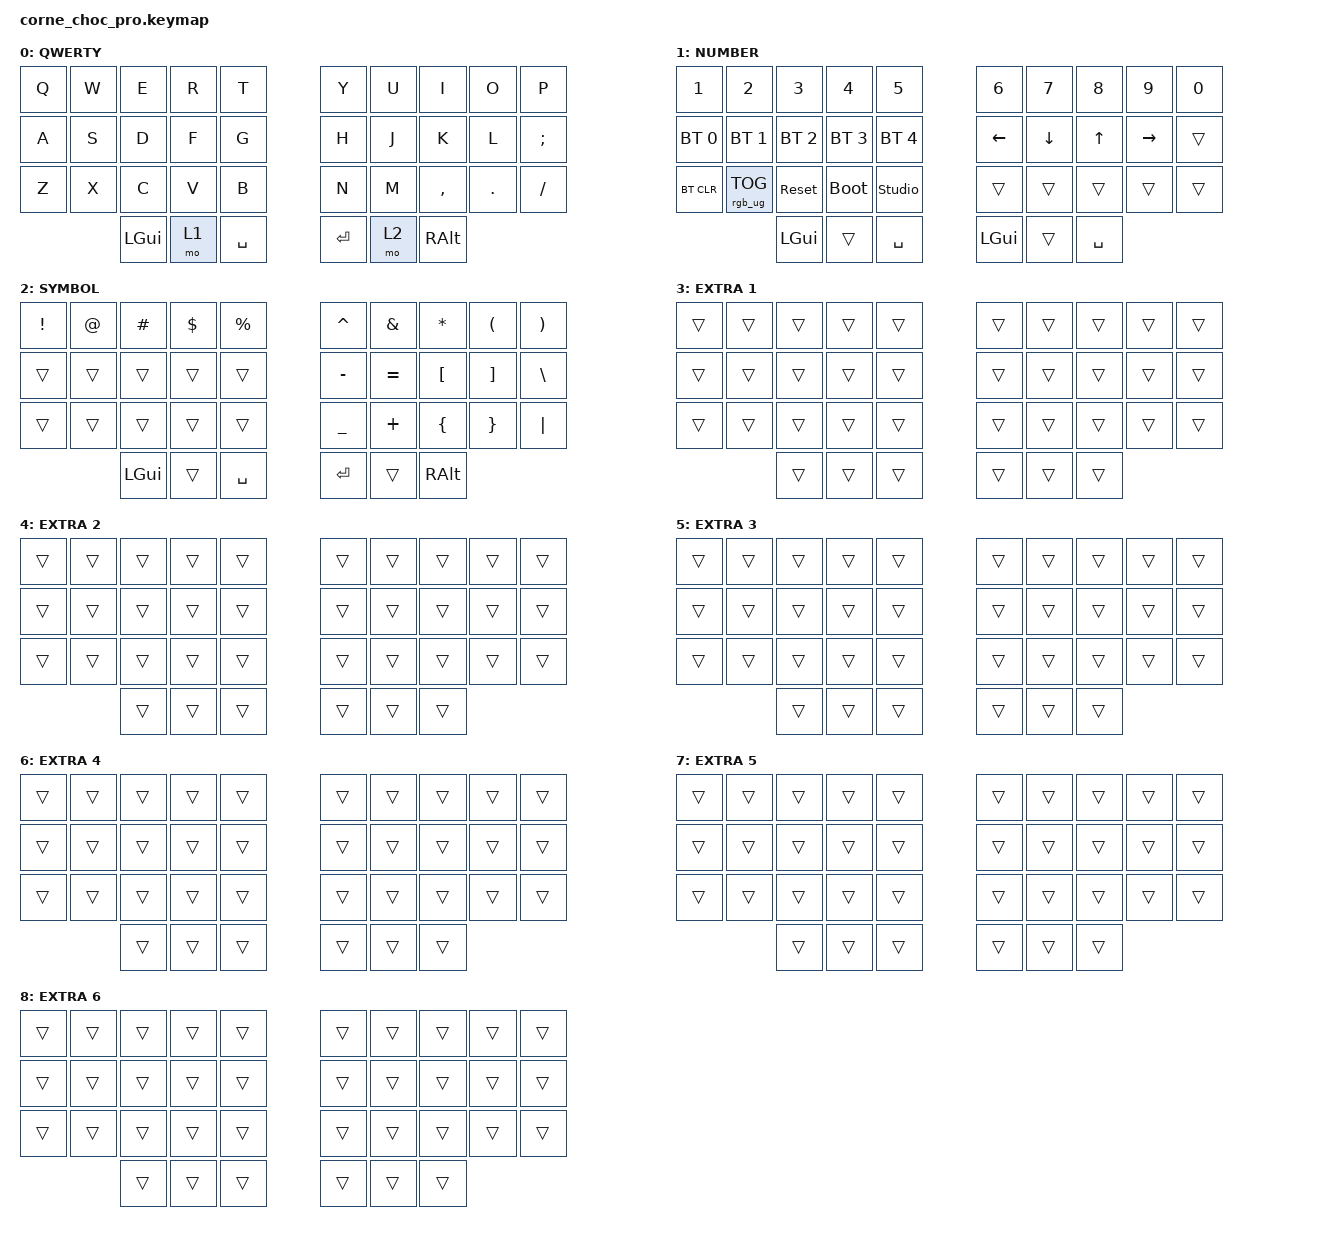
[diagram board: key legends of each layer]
/*
 * Copyright (c) 2020 The ZMK Contributors
 *
 * SPDX-License-Identifier: MIT
 */

#include <behaviors.dtsi>
#include <dt-bindings/zmk/keys.h>
#include <dt-bindings/zmk/bt.h>
#include <dt-bindings/zmk/rgb.h>

/ {
    chosen {
        zmk,physical-layout = &default_layout;
    };
};

/ {
    keymap {
        compatible = "zmk,keymap";

        default_layer {
            display-name = "QWERTY";
            // ------------------------------------------------------------------------------
            // |  Q  |  W  |  E  |  R  |  T  |               |  Y  |  U   |  I  |  O  |  P  |
            // |  A  |  S  |  D  |  F  |  G  |               |  H  |  J   |  K  |  L  |  ;  |
            // |  Z  |  X  |  C  |  V  |  B  |               |  N  |  M   |  ,  |  .  |  /  |
            //             | GUI | LWR | SPC |               | ENT | RSE  | ALT |
            bindings = <
                &kp Q &kp W &kp E &kp R &kp T                     &kp Y &kp U  &kp I     &kp O   &kp P   
                &kp A &kp S &kp D &kp F &kp G                     &kp H &kp J  &kp K     &kp L   &kp SEMI
                &kp Z &kp X &kp C &kp V &kp B                     &kp N &kp M  &kp COMMA &kp DOT &kp FSLH
                            &kp LGUI &mo 1 &kp SPACE              &kp RET &mo 2 &kp RALT
            >;
        };

        lower_layer {
            display-name = "NUMBER";
            // --------------------------------------------------------------------------------
            // |  1  |  2  |  3  |  4  |  5    |                |  6  |  7  |  8  |  9  |  0  |
            // | BT1 | BT2 | BT3 | BT4 | BT5   |                | LFT | DWN |  UP | RGT |     |
            // | BTCR| RGB | RST | BOOT| Unlock|                |     |     |     |     |     |
            //             | GUI |     | SPC   |                | ENT |     | ALT |
            bindings = <
                &kp N1       &kp N2          &kp N3       &kp N4       &kp N5                           &kp N6   &kp N7   &kp N8 &kp N9    &kp N0
                &bt BT_SEL 0 &bt BT_SEL 1    &bt BT_SEL 2 &bt BT_SEL 3 &bt BT_SEL 4                     &kp LEFT &kp DOWN &kp UP &kp RIGHT &trans
                &bt BT_CLR   &rgb_ug RGB_TOG &sys_reset   &bootloader  &studio_unlock                   &trans   &trans   &trans &trans    &trans
                                             &kp LGUI     &trans       &kp SPACE                        &kp LGUI &trans   &kp SPACE
            >;
        };

        raise_layer {
            display-name = "SYMBOL";
            // -----------------------------------------------------------------------------
            // |  !  |  @  |  #  |  $  |  %  |               |  ^  |  &  |  *  |  (  |  )  |
            // |     |     |     |     |     |               |  -  |  =  |  [  |  ]  |  \  |
            // |     |     |     |     |     |               |  _  |  +  |  {  |  }  | "|" |
            //             | GUI |     | SPC |               | ENT |     | ALT |
            bindings = <
                &kp EXCL &kp AT &kp HASH &kp DLLR &kp PRCNT                     &kp CARET &kp AMPS &kp ASTRK &kp LPAR &kp RPAR
                &trans   &trans &trans   &trans   &trans                        &kp MINUS &kp EQUAL &kp LBKT &kp RBKT &kp BSLH
                &trans   &trans &trans   &trans   &trans                        &kp UNDER &kp PLUS  &kp LBRC &kp RBRC &kp PIPE
                                &kp LGUI &trans   &kp SPACE                     &kp RET   &trans    &kp RALT
            >;
        };

        extra_layer_1 {
            display-name = "EXTRA 1";
            bindings = <
                &trans &trans &trans &trans &trans               &trans &trans &trans &trans &trans
                &trans &trans &trans &trans &trans               &trans &trans &trans &trans &trans
                &trans &trans &trans &trans &trans               &trans &trans &trans &trans &trans
                              &trans &trans &trans               &trans &trans &trans       
            >;
        };

        extra_layer_2 {
            display-name = "EXTRA 2";
            bindings = <
                &trans &trans &trans &trans &trans               &trans &trans &trans &trans &trans
                &trans &trans &trans &trans &trans               &trans &trans &trans &trans &trans
                &trans &trans &trans &trans &trans               &trans &trans &trans &trans &trans
                              &trans &trans &trans               &trans &trans &trans         
            >;
        };

        extra_layer_3 {
            display-name = "EXTRA 3";
            bindings = <
                &trans &trans &trans &trans &trans               &trans &trans &trans &trans &trans
                &trans &trans &trans &trans &trans               &trans &trans &trans &trans &trans
                &trans &trans &trans &trans &trans               &trans &trans &trans &trans &trans
                              &trans &trans &trans               &trans &trans &trans      
            >;
        };

        extra_layer_4 {
            display-name = "EXTRA 4";
            bindings = <
                &trans &trans &trans &trans &trans               &trans &trans &trans &trans &trans
                &trans &trans &trans &trans &trans               &trans &trans &trans &trans &trans
                &trans &trans &trans &trans &trans               &trans &trans &trans &trans &trans
                              &trans &trans &trans               &trans &trans &trans      
            >;
        };

        extra_layer_5 {
            display-name = "EXTRA 5";
            bindings = <
                &trans &trans &trans &trans &trans               &trans &trans &trans &trans &trans
                &trans &trans &trans &trans &trans               &trans &trans &trans &trans &trans
                &trans &trans &trans &trans &trans               &trans &trans &trans &trans &trans
                              &trans &trans &trans               &trans &trans &trans     
            >;
        };

        extra_layer_6 {
            display-name = "EXTRA 6";
            bindings = <
                &trans &trans &trans &trans &trans               &trans &trans &trans &trans &trans
                &trans &trans &trans &trans &trans               &trans &trans &trans &trans &trans
                &trans &trans &trans &trans &trans               &trans &trans &trans &trans &trans
                              &trans &trans &trans               &trans &trans &trans      
            >;
        };
    };
};
